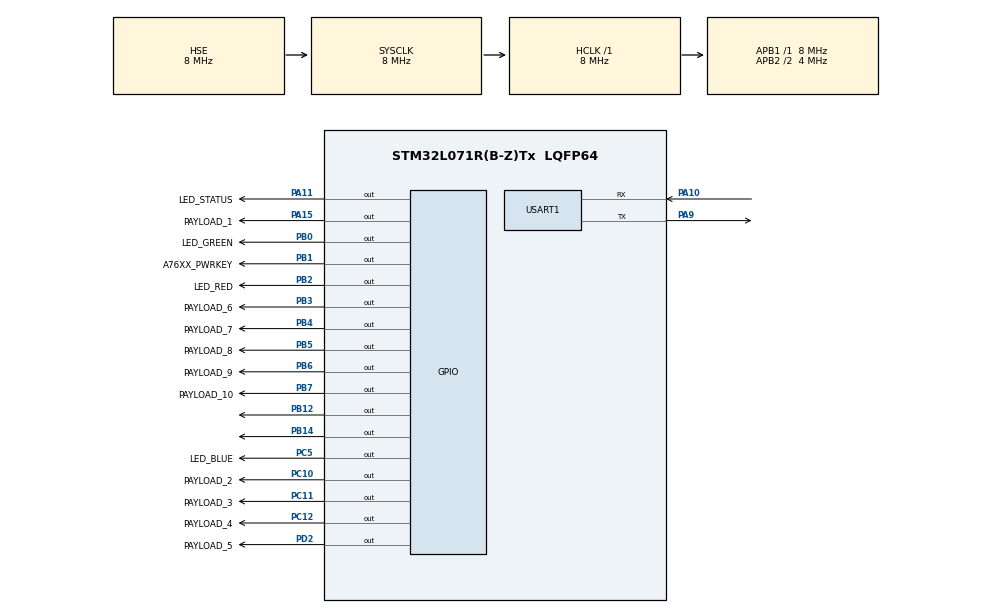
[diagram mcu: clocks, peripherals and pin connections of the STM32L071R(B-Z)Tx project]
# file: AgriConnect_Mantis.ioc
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IWDG.Prescaler=IWDG_PRESCALER_256
IWDG.Reload=4095
Mcu.Family=STM32L0
Mcu.Name=STM32L071R(B-Z)Tx
Mcu.Package=LQFP64
NVIC.TIM6_IRQn=true\:1\:0\:true\:false\:true\:true\:true\:true
NVIC.USART1_IRQn=true\:0\:0\:false\:false\:true\:true\:true\:true
PA10.Mode=Asynchronous
PA10.Signal=USART1_RX
PA11.GPIO_Label=LED_STATUS
PA11.Signal=GPIO_Output
PA13.Mode=Serial_Wire
PA13.Signal=SYS_SWDIO
PA14.Mode=Serial_Wire
PA14.Signal=SYS_SWCLK
PA15.GPIO_Label=PAYLOAD_1
PA15.Signal=GPIO_Output
PA9.Mode=Asynchronous
PA9.Signal=USART1_TX
PB0.GPIO_Label=LED_GREEN
PB0.Signal=GPIO_Output
PB1.GPIO_Label=A76XX_PWRKEY
PB1.Signal=GPIO_Output
PB12.Signal=GPIO_Output
PB14.Signal=GPIO_Output
PB2.GPIO_Label=LED_RED
PB2.Signal=GPIO_Output
PB3.GPIO_Label=PAYLOAD_6
PB3.Signal=GPIO_Output
PB4.GPIO_Label=PAYLOAD_7
PB4.Signal=GPIO_Output
PB5.GPIO_Label=PAYLOAD_8
PB5.Signal=GPIO_Output
PB6.GPIO_Label=PAYLOAD_9
PB6.Signal=GPIO_Output
PB7.GPIO_Label=PAYLOAD_10
PB7.Signal=GPIO_Output
PC10.GPIO_Label=PAYLOAD_2
PC10.Signal=GPIO_Output
PC11.GPIO_Label=PAYLOAD_3
PC11.Signal=GPIO_Output
PC12.GPIO_Label=PAYLOAD_4
PC12.Signal=GPIO_Output
PC5.GPIO_Label=LED_BLUE
PC5.Signal=GPIO_Output
PD2.GPIO_Label=PAYLOAD_5
PD2.Signal=GPIO_Output
PH0-OSC_IN.Mode=HSE-External-Oscillator
PH0-OSC_IN.Signal=RCC_OSC_IN
PH1-OSC_OUT.Mode=HSE-External-Oscillator
PH1-OSC_OUT.Signal=RCC_OSC_OUT
ProjectManager.HeapSize=0x200
ProjectManager.StackSize=0x400
ProjectManager.TargetToolchain=STM32CubeIDE
RCC.AHBFreq_Value=8000000
RCC.APB1Freq_Value=8000000
RCC.APB1TimFreq_Value=8000000
RCC.APB2CLKDivider=RCC_HCLK_DIV2
RCC.APB2Freq_Value=4000000
RCC.APB2TimFreq_Value=8000000
RCC.HCLKFreq_Value=8000000
RCC.HSE_VALUE=8000000
RCC.HSI16_VALUE=16000000
RCC.HSI_VALUE=16000000
RCC.LSE_VALUE=32768
RCC.MSI_VALUE=2097000
RCC.PLLMUL=RCC_PLLMUL_8
RCC.PLLSourceVirtual=RCC_PLLSOURCE_HSE
RCC.SYSCLKFreq_VALUE=8000000
RCC.SYSCLKSource=RCC_SYSCLKSOURCE_HSE
RCC.VCOOutputFreq_Value=64000000
TIM6.Period=999
TIM6.Prescaler=7999
USART1.VirtualMode-Asynchronous=VM_ASYNC
VP_IWDG_VS_IWDG.Mode=IWDG_Activate
VP_TIM6_VS_ClockSourceINT.Mode=Enable_Timer
board=custom

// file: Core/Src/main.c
/* USER CODE BEGIN Header */
/**
 ******************************************************************************
 * @file           : main.c
 * @brief          : Main program body
 ******************************************************************************
 * @attention
 *
 * Copyright (c) 2024 STMicroelectronics.
 * All rights reserved.
 *
 * This software is licensed under terms that can be found in the LICENSE file
 * in the root directory of this software component.
 * If no LICENSE file comes with this software, it is provided AS-IS.
 *
 ******************************************************************************
 */
/* USER CODE END Header */
#include "main.h"

/* USER CODE BEGIN Includes */
#include "cJSON.h"
#include "config.h"
#include "stdbool.h"
#include "stdio.h"
#include "stdlib.h"
#include "string.h"
#include <math.h>

/* USER CODE END Includes */

IWDG_HandleTypeDef hiwdg;

TIM_HandleTypeDef htim6;

UART_HandleTypeDef huart1;

/* USER CODE BEGIN PV */
GPIO_TypeDef *GPIO_LOAD_PORT[10] = {PAYLOAD_1_GPIO_Port, PAYLOAD_2_GPIO_Port,
                                    PAYLOAD_3_GPIO_Port, PAYLOAD_4_GPIO_Port,
                                    PAYLOAD_5_GPIO_Port, PAYLOAD_6_GPIO_Port,
                                    PAYLOAD_7_GPIO_Port, PAYLOAD_8_GPIO_Port,
                                    PAYLOAD_9_GPIO_Port, PAYLOAD_10_GPIO_Port};
unsigned int GPIO_LOAD_PIN[10] = {
    PAYLOAD_1_Pin, PAYLOAD_2_Pin, PAYLOAD_3_Pin, PAYLOAD_4_Pin, PAYLOAD_5_Pin,
    PAYLOAD_6_Pin, PAYLOAD_7_Pin, PAYLOAD_8_Pin, PAYLOAD_9_Pin, PAYLOAD_10_Pin};

char array_at_command[200];
float signal_strength = 0;
int one_cycle;
int on_relay = 0;
int rssi = -99;

int time_out_connect_mqtt = 15000;
int is_pb_done = 0;
int payLoadPin, payLoadStatus;

char rx_buffer[1024];
char rx_data_sim[1024];
int previousTick;
int is_connect_simcom = 0;
int is_connect_mqtt = 0;
float data_percentage_pin;
int update_status_to_server;
uint16_t frequency_1hz = 0;

bool is_fn_enable_mqtt = false;
bool is_fn_connect_mqtt = false;
bool is_fn_check_sim = false;
bool is_fn_subcribe_mqtt = false;
bool is_fn_publish_mqtt = false;
bool is_fn_acquier_mqtt = false;
bool is_fn_update_status = false;
uint8_t total_errors = 0;

uint32_t address = 0x0801FC00;
uint32_t data = 0x01;
uint32_t read_data = 3;
uint32_t value_page[4];

enum GmsModemState CurrentStatusSimcom = Off;
uint8_t check_error_internet;
uint8_t check_error_mqtt;
// char rx_buffer[50];
/* USER CODE END PV */

void SystemClock_Config(void);
static void MX_GPIO_Init(void);
static void MX_USART1_UART_Init(void);
static void MX_TIM6_Init(void);
static void MX_IWDG_Init(void);
/* USER CODE BEGIN PFP */
void enable_simcom(void); // reset module simcom A76XX
void send_to_simcom_a76xx(char *cmd);
void led_status(char cmd);

/* USER CODE END PFP */

/* USER CODE BEGIN 0 */
void HAL_TIM_PeriodElapsedCallback(TIM_HandleTypeDef *htim) {
  if (htim->Instance == htim6.Instance) {
    if (CurrentStatusSimcom == Subscribed) {
      frequency_1hz++;
      if (frequency_1hz >= INTERVAL_PUPLISH_DATA) {
        update_status_to_server = 1;
        one_cycle++;
        frequency_1hz = 0;
      }
    }
    IWDG->KR = 0xAAAA;
  }
  HAL_TIM_Base_Start_IT(&htim6);
}

void led_status(char cmd) {
  if (cmd == 'R') {
    HAL_GPIO_WritePin(LED_BLUE_GPIO_Port, LED_BLUE_Pin, SET);
    HAL_GPIO_WritePin(LED_RED_GPIO_Port, LED_RED_Pin, SET);
    HAL_GPIO_WritePin(LED_GREEN_GPIO_Port, LED_GREEN_Pin, RESET);
  } else if (cmd == 'B') {
    HAL_GPIO_WritePin(LED_BLUE_GPIO_Port, LED_BLUE_Pin, SET);
    HAL_GPIO_WritePin(LED_RED_GPIO_Port, LED_RED_Pin, RESET);
    HAL_GPIO_WritePin(LED_GREEN_GPIO_Port, LED_GREEN_Pin, SET);
  } else if (cmd == 'G') {
    HAL_GPIO_WritePin(LED_BLUE_GPIO_Port, LED_BLUE_Pin, RESET);
    HAL_GPIO_WritePin(LED_RED_GPIO_Port, LED_RED_Pin, SET);
    HAL_GPIO_WritePin(LED_GREEN_GPIO_Port, LED_GREEN_Pin, SET);
  } else if (cmd == 'W') {
    HAL_GPIO_WritePin(LED_BLUE_GPIO_Port, LED_BLUE_Pin, RESET);
    HAL_GPIO_WritePin(LED_RED_GPIO_Port, LED_RED_Pin, RESET);
    HAL_GPIO_WritePin(LED_GREEN_GPIO_Port, LED_GREEN_Pin, RESET);
  }
}
void fn_handle_state(enum GmsModemState status) {
  switch (status) {
  case Off: {
    enable_simcom();
    is_pb_done = event_wait_function();
    if (is_pb_done) {
      CurrentStatusSimcom = On;
      printf("Current status Simcom On \r\n");
    } else {
      NVIC_SystemReset();
    }
    break;
  }
  case On: {
    is_fn_check_sim = fn_check_signal_simcom();
    if (is_fn_check_sim) {
    	total_errors=0;
      CurrentStatusSimcom = InternetReady;
      printf("Current status Simcom Internet Ready\r\n");
    } else {
    	total_errors++;
    }
    if (total_errors > 5) {
    	restart_stm32();
    }
    break;
  }
  case InternetReady: {
    is_fn_enable_mqtt = enable_mqtt_on_gsm_modem();
    if (is_fn_enable_mqtt) {
      is_fn_acquier_mqtt = acquire_gsm_mqtt_client();
    }
    if (is_fn_acquier_mqtt) {
      is_fn_connect_mqtt = connect_mqtt_server_by_gsm();
    }
    if (is_fn_connect_mqtt) {
      total_errors = 0;
      led_status('G');
      CurrentStatusSimcom = MqttReady;
      printf("Current status Simcom MQTT Ready\r\n");
    } else
      total_errors++;
    if (total_errors > 5) {
    	restart_stm32();
    }
    break;
  }
  case MqttReady: {
    is_fn_subcribe_mqtt = subscribe_mqtt_via_gsm();
    if (is_fn_subcribe_mqtt) {
      total_errors = 0;
      CurrentStatusSimcom = Subscribed;
      printf("Current status Simcom Subscribed \r\n");
    } else
      total_errors++;
    if (total_errors > 5) {
    	restart_stm32();
    }
    break;
  }
  case Subscribed: {
    if (update_status_to_server) {
      is_fn_update_status = update_status();
      if (is_fn_update_status) {
        update_status_to_server = 0;
        total_errors = 0;
      } else {
          total_errors++;
          if (total_errors > 5) {
            stop_mqtt_via_gsm();
            CurrentStatusSimcom = On;
      }

      }
    }
    break;
  }

  default:
    printf("Case cannot be determined !\r\n");
  }
}
/* USER CODE END 0 */

int main(void)
{

  /* MCU Configuration--------------------------------------------------------*/

  /* Reset of all peripherals, Initializes the Flash interface and the Systick. */
  HAL_Init();

  /* Configure the system clock */
  SystemClock_Config();

  /* Initialize all configured peripherals */
  MX_GPIO_Init();
  MX_USART1_UART_Init();
  MX_TIM6_Init();
  MX_IWDG_Init();
  /* USER CODE BEGIN 2 */
  printf("-----Welcome to Agriconnect-----\n");
  printf("-----Hello Mantis-----\n");
#if SAVE_LOAD
  read_flash_payload();
#endif
  HAL_UARTEx_ReceiveToIdle_IT(&huart1, (uint8_t *)rx_buffer, 800);
  HAL_TIM_Base_Start_IT(&htim6);
  /* USER CODE END 2 */

  /* Infinite loop */
  while (1) {

    /* USER CODE BEGIN 3 */
    fn_handle_state(CurrentStatusSimcom);
  }
  /* USER CODE END 3 */
}

void SystemClock_Config(void)
{
  RCC_OscInitTypeDef RCC_OscInitStruct = {0};
  RCC_ClkInitTypeDef RCC_ClkInitStruct = {0};
  RCC_PeriphCLKInitTypeDef PeriphClkInit = {0};

  /** Configure the main internal regulator output voltage
  */
  __HAL_PWR_VOLTAGESCALING_CONFIG(PWR_REGULATOR_VOLTAGE_SCALE1);

  /** Initializes the RCC Oscillators according to the specified parameters
  * in the RCC_OscInitTypeDef structure.
  */
  RCC_OscInitStruct.OscillatorType = RCC_OSCILLATORTYPE_LSI|RCC_OSCILLATORTYPE_HSE;
  RCC_OscInitStruct.HSEState = RCC_HSE_ON;
  RCC_OscInitStruct.LSIState = RCC_LSI_ON;
  RCC_OscInitStruct.PLL.PLLState = RCC_PLL_NONE;
  if (HAL_RCC_OscConfig(&RCC_OscInitStruct) != HAL_OK)
  {
    Error_Handler();
  }

  /** Initializes the CPU, AHB and APB buses clocks
  */
  RCC_ClkInitStruct.ClockType = RCC_CLOCKTYPE_HCLK|RCC_CLOCKTYPE_SYSCLK
                              |RCC_CLOCKTYPE_PCLK1|RCC_CLOCKTYPE_PCLK2;
  RCC_ClkInitStruct.SYSCLKSource = RCC_SYSCLKSOURCE_HSE;
  RCC_ClkInitStruct.AHBCLKDivider = RCC_SYSCLK_DIV1;
  RCC_ClkInitStruct.APB1CLKDivider = RCC_HCLK_DIV1;
  RCC_ClkInitStruct.APB2CLKDivider = RCC_HCLK_DIV2;

  if (HAL_RCC_ClockConfig(&RCC_ClkInitStruct, FLASH_LATENCY_0) != HAL_OK)
  {
    Error_Handler();
  }
  PeriphClkInit.PeriphClockSelection = RCC_PERIPHCLK_USART1;
  PeriphClkInit.Usart1ClockSelection = RCC_USART1CLKSOURCE_PCLK2;
  if (HAL_RCCEx_PeriphCLKConfig(&PeriphClkInit) != HAL_OK)
  {
    Error_Handler();
  }
}

static void MX_IWDG_Init(void)
{

  hiwdg.Instance = IWDG;
  hiwdg.Init.Prescaler = IWDG_PRESCALER_256;
  hiwdg.Init.Window = 4095;
  hiwdg.Init.Reload = 4095;
  if (HAL_IWDG_Init(&hiwdg) != HAL_OK)
  {
    Error_Handler();
  }

}

static void MX_TIM6_Init(void)
{

  TIM_MasterConfigTypeDef sMasterConfig = {0};

  htim6.Instance = TIM6;
  htim6.Init.Prescaler = 7999;
  htim6.Init.CounterMode = TIM_COUNTERMODE_UP;
  htim6.Init.Period = 999;
  htim6.Init.AutoReloadPreload = TIM_AUTORELOAD_PRELOAD_DISABLE;
  if (HAL_TIM_Base_Init(&htim6) != HAL_OK)
  {
    Error_Handler();
  }
  sMasterConfig.MasterOutputTrigger = TIM_TRGO_RESET;
  sMasterConfig.MasterSlaveMode = TIM_MASTERSLAVEMODE_DISABLE;
  if (HAL_TIMEx_MasterConfigSynchronization(&htim6, &sMasterConfig) != HAL_OK)
  {
    Error_Handler();
  }

}

static void MX_USART1_UART_Init(void)
{

  huart1.Instance = USART1;
  huart1.Init.BaudRate = 115200;
  huart1.Init.WordLength = UART_WORDLENGTH_8B;
  huart1.Init.StopBits = UART_STOPBITS_1;
  huart1.Init.Parity = UART_PARITY_NONE;
  huart1.Init.Mode = UART_MODE_TX_RX;
  huart1.Init.HwFlowCtl = UART_HWCONTROL_NONE;
  huart1.Init.OverSampling = UART_OVERSAMPLING_16;
  huart1.Init.OneBitSampling = UART_ONE_BIT_SAMPLE_DISABLE;
  huart1.AdvancedInit.AdvFeatureInit = UART_ADVFEATURE_NO_INIT;
  if (HAL_UART_Init(&huart1) != HAL_OK)
  {
    Error_Handler();
  }

}

static void MX_GPIO_Init(void)
{
  GPIO_InitTypeDef GPIO_InitStruct = {0};

  /* GPIO Ports Clock Enable */
  __HAL_RCC_GPIOH_CLK_ENABLE();
  __HAL_RCC_GPIOC_CLK_ENABLE();
  __HAL_RCC_GPIOB_CLK_ENABLE();
  __HAL_RCC_GPIOA_CLK_ENABLE();
  __HAL_RCC_GPIOD_CLK_ENABLE();

  /*Configure GPIO pin Output Level */
  HAL_GPIO_WritePin(GPIOC, LED_BLUE_Pin|PAYLOAD_2_Pin|PAYLOAD_3_Pin|PAYLOAD_4_Pin, GPIO_PIN_RESET);

  /*Configure GPIO pin Output Level */
  HAL_GPIO_WritePin(GPIOB, LED_GREEN_Pin|A76XX_PWRKEY_Pin|LED_RED_Pin|GPIO_PIN_12
                          |GPIO_PIN_14|PAYLOAD_6_Pin|PAYLOAD_7_Pin|PAYLOAD_8_Pin
                          |PAYLOAD_9_Pin|PAYLOAD_10_Pin, GPIO_PIN_RESET);

  /*Configure GPIO pin Output Level */
  HAL_GPIO_WritePin(GPIOA, LED_STATUS_Pin|PAYLOAD_1_Pin, GPIO_PIN_RESET);

  /*Configure GPIO pin Output Level */
  HAL_GPIO_WritePin(PAYLOAD_5_GPIO_Port, PAYLOAD_5_Pin, GPIO_PIN_RESET);

  /*Configure GPIO pins : LED_BLUE_Pin PAYLOAD_2_Pin PAYLOAD_3_Pin PAYLOAD_4_Pin */
  GPIO_InitStruct.Pin = LED_BLUE_Pin|PAYLOAD_2_Pin|PAYLOAD_3_Pin|PAYLOAD_4_Pin;
  GPIO_InitStruct.Mode = GPIO_MODE_OUTPUT_PP;
  GPIO_InitStruct.Pull = GPIO_NOPULL;
  GPIO_InitStruct.Speed = GPIO_SPEED_FREQ_LOW;
  HAL_GPIO_Init(GPIOC, &GPIO_InitStruct);

  /*Configure GPIO pins : LED_GREEN_Pin A76XX_PWRKEY_Pin LED_RED_Pin PB12
                           PB14 PAYLOAD_6_Pin PAYLOAD_7_Pin PAYLOAD_8_Pin
                           PAYLOAD_9_Pin PAYLOAD_10_Pin */
  GPIO_InitStruct.Pin = LED_GREEN_Pin|A76XX_PWRKEY_Pin|LED_RED_Pin|GPIO_PIN_12
                          |GPIO_PIN_14|PAYLOAD_6_Pin|PAYLOAD_7_Pin|PAYLOAD_8_Pin
                          |PAYLOAD_9_Pin|PAYLOAD_10_Pin;
  GPIO_InitStruct.Mode = GPIO_MODE_OUTPUT_PP;
  GPIO_InitStruct.Pull = GPIO_NOPULL;
  GPIO_InitStruct.Speed = GPIO_SPEED_FREQ_LOW;
  HAL_GPIO_Init(GPIOB, &GPIO_InitStruct);

  /*Configure GPIO pins : LED_STATUS_Pin PAYLOAD_1_Pin */
  GPIO_InitStruct.Pin = LED_STATUS_Pin|PAYLOAD_1_Pin;
  GPIO_InitStruct.Mode = GPIO_MODE_OUTPUT_PP;
  GPIO_InitStruct.Pull = GPIO_NOPULL;
  GPIO_InitStruct.Speed = GPIO_SPEED_FREQ_LOW;
  HAL_GPIO_Init(GPIOA, &GPIO_InitStruct);

  /*Configure GPIO pin : PAYLOAD_5_Pin */
  GPIO_InitStruct.Pin = PAYLOAD_5_Pin;
  GPIO_InitStruct.Mode = GPIO_MODE_OUTPUT_PP;
  GPIO_InitStruct.Pull = GPIO_NOPULL;
  GPIO_InitStruct.Speed = GPIO_SPEED_FREQ_LOW;
  HAL_GPIO_Init(PAYLOAD_5_GPIO_Port, &GPIO_InitStruct);

}

/* USER CODE BEGIN 4 */
void enable_simcom(void) {
  led_status('R');
  printf("Enable SIMCOM\n");
  HAL_GPIO_WritePin(A76XX_PWRKEY_GPIO_Port, A76XX_PWRKEY_Pin, SET);
  HAL_Delay(3000);
  HAL_GPIO_WritePin(A76XX_PWRKEY_GPIO_Port, A76XX_PWRKEY_Pin, RESET);
  HAL_Delay(3000);
  HAL_GPIO_WritePin(A76XX_PWRKEY_GPIO_Port, A76XX_PWRKEY_Pin, SET);
  HAL_Delay(200);
  HAL_GPIO_WritePin(A76XX_PWRKEY_GPIO_Port, A76XX_PWRKEY_Pin, RESET);
  HAL_Delay(1000);
}
/* USER CODE END 4 */

void Error_Handler(void)
{
  /* USER CODE BEGIN Error_Handler_Debug */
  /* User can add his own implementation to report the HAL error return state */

  printf("\r\n-----------------Detect system error------------------");
  HAL_Delay(1000);
  __disable_irq();
  while (1) {
    NVIC_SystemReset();
  }
  /* USER CODE END Error_Handler_Debug */
}

#ifdef  USE_FULL_ASSERT
/**
  * @brief  Reports the name of the source file and the source line number
  *         where the assert_param error has occurred.
  * @param  file: pointer to the source file name
  * @param  line: assert_param error line source number
  * @retval None
  */
void assert_failed(uint8_t *file, uint32_t line)
{
  /* USER CODE BEGIN 6 */
  /* User can add his own implementation to report the file name and line
     number, ex: printf("Wrong parameters value: file %s on line %d\r\n", file,
     line) */
  /* USER CODE END 6 */
}
#endif /* USE_FULL_ASSERT */
